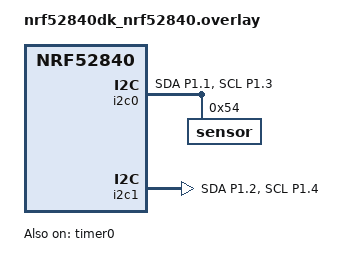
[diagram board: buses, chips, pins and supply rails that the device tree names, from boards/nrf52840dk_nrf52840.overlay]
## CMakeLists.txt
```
#
# Copyright (c) 2025 Nordic Semiconductor ASA
#
# SPDX-License-Identifier: LicenseRef-Nordic-5-Clause
#

cmake_minimum_required(VERSION 3.20.0)

find_package(Zephyr REQUIRED HINTS $ENV{ZEPHYR_BASE})

if(NOT SYSBUILD)
  message(FATAL_ERROR
    " This is a multi-image application that should be built using sysbuild.\n"
    " Add --sysbuild argument to west build command to prepare all the images."
  )
endif()

project(twim_latency)

target_sources(app PRIVATE src/main.c)
```

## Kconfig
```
#
# Copyright (c) 2026 Nordic Semiconductor ASA
#
# SPDX-License-Identifier: LicenseRef-Nordic-5-Clause
#

config TEST_TWI_1MBPS_SUPPORT
	bool "Test with 1Mbps rate - DUT HW dependent"
	default y if SOC_NRF5340
	default y if SOC_NRF54H20
	default y if SOC_NRF9251

source "Kconfig.zephyr"
```

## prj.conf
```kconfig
CONFIG_I2C=y
CONFIG_NRFX_TWIS=y

CONFIG_ZTEST=y
CONFIG_DK_LIBRARY=y
CONFIG_COUNTER=y
```

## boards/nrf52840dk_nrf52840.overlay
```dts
/ {
	aliases {
		i2c-slave = &i2c1;
		tst-timer = &timer0;
	};
};

&pinctrl {
	i2c0_default_alt: i2c0_default_alt {
		group1 {
			psels = <NRF_PSEL(TWIM_SDA, 1, 1)>,
				<NRF_PSEL(TWIM_SCL, 1, 3)>;
		};
	};

	i2c0_sleep_alt: i2c0_sleep_alt {
		group1 {
			psels = <NRF_PSEL(TWIM_SDA, 1, 1)>,
				<NRF_PSEL(TWIM_SCL, 1, 3)>;
			low-power-enable;
		};
	};

	i2c1_default_alt: i2c1_default_alt {
		group1 {
			psels = <NRF_PSEL(TWIS_SDA, 1, 2)>,
				<NRF_PSEL(TWIS_SCL, 1, 4)>;
			bias-pull-up;
		};
	};

	i2c1_sleep_alt: i2c1_sleep_alt {
		group1 {
			psels = <NRF_PSEL(TWIS_SDA, 1, 2)>,
				<NRF_PSEL(TWIS_SCL, 1, 4)>;
			low-power-enable;
		};
	};
};

dut_twim: &i2c0 {
	compatible = "nordic,nrf-twim";
	status = "okay";
	pinctrl-0 = <&i2c0_default_alt>;
	pinctrl-1 = <&i2c0_sleep_alt>;
	pinctrl-names = "default", "sleep";

	sensor: sensor@54 {
		reg = <0x54>;
	};
};

dut_twis: &i2c1 {
	compatible = "nordic,nrf-twis";
	status = "okay";
	pinctrl-0 = <&i2c1_default_alt>;
	pinctrl-1 = <&i2c1_sleep_alt>;
	pinctrl-names = "default", "sleep";
};

&timer0 {
	status = "okay";
};
```

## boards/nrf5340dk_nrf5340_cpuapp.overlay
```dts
/ {
	aliases {
		i2c-slave = &i2c2;
		tst-timer = &timer0;
	};
};

&pinctrl {
	i2c1_default_alt: i2c1_default_alt {
		group1 {
			psels = <NRF_PSEL(TWIM_SDA, 0, 4)>,
				<NRF_PSEL(TWIM_SCL, 0, 6)>;
		};
	};

	i2c1_sleep_alt: i2c1_sleep_alt {
		group1 {
			psels = <NRF_PSEL(TWIM_SDA, 0, 4)>,
				<NRF_PSEL(TWIM_SCL, 0, 6)>;
			low-power-enable;
		};
	};

	i2c2_default_alt: i2c2_default_alt {
		group1 {
			psels = <NRF_PSEL(TWIS_SDA, 0, 5)>,
				<NRF_PSEL(TWIS_SCL, 0, 7)>;
			bias-pull-up;
		};
	};

	i2c2_sleep_alt: i2c2_sleep_alt {
		group1 {
			psels = <NRF_PSEL(TWIS_SDA, 0, 5)>,
				<NRF_PSEL(TWIS_SCL, 0, 7)>;
			low-power-enable;
		};
	};
};

dut_twim: &i2c1 {
	compatible = "nordic,nrf-twim";
	status = "okay";
	pinctrl-0 = <&i2c1_default_alt>;
	pinctrl-1 = <&i2c1_sleep_alt>;
	pinctrl-names = "default", "sleep";

	sensor: sensor@54 {
		reg = <0x54>;
	};
};

dut_twis: &i2c2 {
	compatible = "nordic,nrf-twis";
	pinctrl-0 = <&i2c2_default_alt>;
	pinctrl-1 = <&i2c2_sleep_alt>;
	pinctrl-names = "default", "sleep";
};

&timer0 {
	status = "okay";
};
```

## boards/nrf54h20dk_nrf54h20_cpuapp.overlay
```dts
/ {
	aliases {
		i2c-slave = &i2c131;
		tst-timer = &timer130;
	};
};

&pinctrl {
	i2c130_default_alt: i2c130_default_alt {
		group1 {
			psels = <NRF_PSEL(TWIM_SDA, 2, 8)>,
				<NRF_PSEL(TWIM_SCL, 1, 2)>;
		};
	};

	i2c130_sleep_alt: i2c130_sleep_alt {
		group1 {
			psels = <NRF_PSEL(TWIM_SDA, 2, 8)>,
				<NRF_PSEL(TWIM_SCL, 1, 2)>;
			low-power-enable;
		};
	};

	i2c131_default_alt: i2c131_default_alt {
		group1 {
			psels = <NRF_PSEL(TWIM_SDA, 2, 9)>,
				<NRF_PSEL(TWIM_SCL, 1, 3)>;
			bias-pull-up;
		};
	};

	i2c131_sleep_alt: i2c131_sleep_alt {
		group1 {
			psels = <NRF_PSEL(TWIM_SDA, 2, 9)>,
				<NRF_PSEL(TWIM_SCL, 1, 3)>;
			low-power-enable;
		};
	};
};

dut_twim: &i2c130 {
	compatible = "nordic,nrf-twim";
	status = "okay";
	pinctrl-0 = <&i2c130_default_alt>;
	pinctrl-1 = <&i2c130_sleep_alt>;
	pinctrl-names = "default", "sleep";
	memory-regions = <&cpuapp_dma_region>;
	zephyr,concat-buf-size = <512>;

	sensor: sensor@54 {
		reg = <0x54>;
	};
};

dut_twis: &i2c131 {
	compatible = "nordic,nrf-twis";
	status = "okay";
	pinctrl-0 = <&i2c131_default_alt>;
	pinctrl-1 = <&i2c131_sleep_alt>;
	pinctrl-names = "default", "sleep";
	memory-regions = <&cpuapp_dma_region>;
};

&timer130 {
	status = "okay";
};
```

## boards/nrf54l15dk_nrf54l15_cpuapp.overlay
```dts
/ {
	aliases {
		i2c-slave = &i2c22;
		tst-timer = &timer20;
	};
};

&pinctrl {
	i2c21_default_alt: i2c21_default_alt {
		group1 {
			psels = <NRF_PSEL(TWIM_SDA, 1, 8)>,
				<NRF_PSEL(TWIM_SCL, 1, 12)>;
		};
	};

	i2c21_sleep_alt: i2c21_sleep_alt {
		group1 {
			psels = <NRF_PSEL(TWIM_SDA, 1, 8)>,
				<NRF_PSEL(TWIM_SCL, 1, 12)>;
			low-power-enable;
		};
	};

	i2c22_default_alt: i2c22_default_alt {
		group1 {
			psels = <NRF_PSEL(TWIS_SDA, 1, 9)>,
				<NRF_PSEL(TWIS_SCL, 1, 13)>;
			bias-pull-up;
		};
	};

	i2c22_sleep_alt: i2c22_sleep_alt {
		group1 {
			psels = <NRF_PSEL(TWIS_SDA, 1, 9)>,
				<NRF_PSEL(TWIS_SCL, 1, 13)>;
			low-power-enable;
		};
	};
};

dut_twim: &i2c21 {
	compatible = "nordic,nrf-twim";
	status = "okay";
	pinctrl-0 = <&i2c21_default_alt>;
	pinctrl-1 = <&i2c21_sleep_alt>;
	pinctrl-names = "default", "sleep";
	sensor: sensor@54 {
		reg = <0x54>;
	};
};

dut_twis: &i2c22 {
	compatible = "nordic,nrf-twis";
	status = "okay";
	pinctrl-0 = <&i2c22_default_alt>;
	pinctrl-1 = <&i2c22_sleep_alt>;
	pinctrl-names = "default", "sleep";
};

&timer20 {
	status = "okay";
};
```

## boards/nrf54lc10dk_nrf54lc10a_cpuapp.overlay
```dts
/ {
	aliases {
		i2c-slave = &i2c21;
		tst-timer = &timer20;
	};
};

&pinctrl {
	i2c20_default_alt: i2c20_default_alt {
		group1 {
			psels = <NRF_PSEL(TWIM_SDA, 1, 0)>,
				<NRF_PSEL(TWIM_SCL, 1, 2)>;
		};
	};

	i2c20_sleep_alt: i2c20_sleep_alt {
		group1 {
			psels = <NRF_PSEL(TWIM_SDA, 1, 0)>,
				<NRF_PSEL(TWIM_SCL, 1, 2)>;
			low-power-enable;
		};
	};

	i2c21_default_alt: i2c21_default_alt {
		group1 {
			psels = <NRF_PSEL(TWIS_SDA, 1, 1)>,
				<NRF_PSEL(TWIS_SCL, 1, 3)>;
			bias-pull-up;
		};
	};

	i2c21_sleep_alt: i2c21_sleep_alt {
		group1 {
			psels = <NRF_PSEL(TWIS_SDA, 1, 1)>,
				<NRF_PSEL(TWIS_SCL, 1, 3)>;
			low-power-enable;
		};
	};
};

dut_twim: &i2c20 {
	compatible = "nordic,nrf-twim";
	status = "okay";
	pinctrl-0 = <&i2c20_default_alt>;
	pinctrl-1 = <&i2c20_sleep_alt>;
	pinctrl-names = "default", "sleep";

	sensor: sensor@54 {
		reg = <0x54>;
	};
};

dut_twis: &i2c21 {
	compatible = "nordic,nrf-twis";
	status = "okay";
	pinctrl-0 = <&i2c21_default_alt>;
	pinctrl-1 = <&i2c21_sleep_alt>;
	pinctrl-names = "default", "sleep";
};

&timer20 {
	status = "okay";
};
```

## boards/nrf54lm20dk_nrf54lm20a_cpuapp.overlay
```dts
/* Test requires two loopbacks:
 * - P1.13 - P1.14,
 * - P1.23 - P1.24.
 */

/ {
	aliases {
		i2c-slave = &i2c22;
		tst-timer = &timer20;
	};
};

&pinctrl {
	i2c21_default_alt: i2c21_default_alt {
		group1 {
			psels = <NRF_PSEL(TWIM_SDA, 1, 13)>,
				<NRF_PSEL(TWIM_SCL, 1, 23)>;
		};
	};

	i2c21_sleep_alt: i2c21_sleep_alt {
		group1 {
			psels = <NRF_PSEL(TWIM_SDA, 1, 13)>,
				<NRF_PSEL(TWIM_SCL, 1, 23)>;
			low-power-enable;
		};
	};

	i2c22_default_alt: i2c22_default_alt {
		group1 {
			psels = <NRF_PSEL(TWIS_SDA, 1, 14)>,
				<NRF_PSEL(TWIS_SCL, 1, 24)>;
			bias-pull-up;
		};
	};

	i2c22_sleep_alt: i2c22_sleep_alt {
		group1 {
			psels = <NRF_PSEL(TWIS_SDA, 1, 14)>,
				<NRF_PSEL(TWIS_SCL, 1, 24)>;
			low-power-enable;
		};
	};
};

dut_twim: &i2c21 {
	compatible = "nordic,nrf-twim";
	status = "okay";
	pinctrl-0 = <&i2c21_default_alt>;
	pinctrl-1 = <&i2c21_sleep_alt>;
	pinctrl-names = "default", "sleep";

	sensor: sensor@54 {
		reg = <0x54>;
	};
};

dut_twis: &i2c22 {
	compatible = "nordic,nrf-twis";
	status = "okay";
	pinctrl-0 = <&i2c22_default_alt>;
	pinctrl-1 = <&i2c22_sleep_alt>;
	pinctrl-names = "default", "sleep";
};

&timer20 {
	status = "okay";
};
```

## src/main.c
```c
/*
 * Copyright (c) 2025 Nordic Semiconductor ASA
 *
 * SPDX-License-Identifier: LicenseRef-Nordic-5-Clause
 */

#include <errno.h>
#include <zephyr/kernel.h>
#include <zephyr/linker/devicetree_regions.h>
#include <zephyr/device.h>
#include <zephyr/drivers/pinctrl.h>

#include <zephyr/drivers/i2c.h>
#include <nrfx_twis.h>

#include <zephyr/drivers/counter.h>

#include <zephyr/ztest.h>

#define NODE_TWIM	    DT_NODELABEL(sensor)
#define NODE_TWIS	    DT_ALIAS(i2c_slave)
#define MEASUREMENT_REPEATS 10

#define TWIS_MEMORY_SECTION                                                                        \
	COND_CODE_1(DT_NODE_HAS_PROP(NODE_TWIS, memory_regions),                                   \
		    (__attribute__((__section__(                                                   \
			    LINKER_DT_NODE_REGION_NAME(DT_PHANDLE(NODE_TWIS, memory_regions)))))), \
		    ())

#define TEST_TIMER_COUNT_TIME_LIMIT_MS 500
#define MAX_TEST_DATA_SIZE	       255
static nrfx_twis_t twis = {
	.p_reg = (NRF_TWIS_Type *)DT_REG_ADDR(NODE_TWIS)
};
const struct device *const tst_timer_dev = DEVICE_DT_GET(DT_ALIAS(tst_timer));

static uint8_t i2c_slave_buffer[MAX_TEST_DATA_SIZE] TWIS_MEMORY_SECTION;
static uint8_t i2c_master_buffer[MAX_TEST_DATA_SIZE];

struct i2c_api_twis_fixture {
	const struct device *dev;
	uint8_t addr;
	uint8_t *const master_buffer;
	uint8_t *const slave_buffer;
};

static struct i2c_api_twis_fixture fixture = {
	.dev = DEVICE_DT_GET(DT_BUS(NODE_TWIM)),
	.addr = DT_REG_ADDR(NODE_TWIM),
	.master_buffer = i2c_master_buffer,
	.slave_buffer = i2c_slave_buffer,
};

static void configure_test_timer(const struct device *timer_dev, uint32_t count_time_ms)
{
	struct counter_alarm_cfg counter_cfg;

	counter_cfg.flags = 0;
	counter_cfg.ticks = counter_us_to_ticks(timer_dev, (uint64_t)count_time_ms * 1000);
	counter_cfg.user_data = &counter_cfg;
}

static uint32_t calculate_theoretical_transsmison_time_us(size_t buffer_size,
							  uint8_t i2c_speed_setting)
{
	/* i2c_get_config is not imeplemnted on NRF devices
	 * configuration here is hard-coded
	 */
	uint32_t i2c_speed;
	float ratio;
	/* 7 address bits + 1 R/W bit + 1 ACK bit */
	uint32_t address_bits = 7 + 1 + 1;
	/* 8 data bits + 1 ACK bit */
	uint32_t data_bits = 8 + 1;
	/* dead time bits */
	uint32_t dead_time_bits = 2;
	/*
	 *  clock stretching bits
	 * note that this is very rough approximation
	 * it is hard to estimate the actual
	 * time required for clock stretching
	 */
	uint32_t clk_stretch_bits;

	switch (i2c_speed_setting) {
	case I2C_SPEED_STANDARD:
		i2c_speed = 100000;
		clk_stretch_bits = 0;
		break;
	case I2C_SPEED_FAST:
		i2c_speed = 400000;
		clk_stretch_bits = 2;
		break;
	case I2C_SPEED_FAST_PLUS:
		i2c_speed = 1000000;
		clk_stretch_bits = 4;
		break;
	default:
		i2c_speed = 100000;
		break;
	}

	ratio = 1000000.0 / i2c_speed;

	/* Address is sent once at the beginning
	 * when i2c_write/read methods are used
	 * there is one START and one STOP bit
	 */
	return (uint32_t)(ratio * (float)(1 + address_bits + dead_time_bits +
					  (data_bits + clk_stretch_bits) * buffer_size + 1));
}

/*
 * Note that the calculated 'theoretical_transmission_time_us'
 * is not accurate enough to perform a stric assesment
 * especially for 1 byte transmission with higher speeds
 */
static void assess_measurement_result(uint64_t timer_value_us,
				      uint32_t theoretical_transmission_time_us, size_t buffer_size)
{
	uint64_t maximal_allowed_transmission_time_us;

	if (buffer_size == 1) {
		/* 500% */
		maximal_allowed_transmission_time_us = (1 + 5) * theoretical_transmission_time_us;
	} else {
		/* 200% */
		maximal_allowed_transmission_time_us = (1 + 2) * theoretical_transmission_time_us;
	}

	zexpect_true(timer_value_us < maximal_allowed_transmission_time_us,
		     "Measured call latency is over the specified limit");
}

static void i2s_slave_handler(nrfx_twis_event_t const *p_event)
{
	switch (p_event->type) {
	case NRFX_TWIS_EVT_READ_REQ:
		nrfx_twis_tx_prepare(&twis, i2c_slave_buffer, MAX_TEST_DATA_SIZE);
		break;
	case NRFX_TWIS_EVT_READ_DONE:
		break;
	case NRFX_TWIS_EVT_WRITE_REQ:
		nrfx_twis_rx_prepare(&twis, i2c_slave_buffer, MAX_TEST_DATA_SIZE);
		break;
	case NRFX_TWIS_EVT_WRITE_DONE:
		break;
	default:
		break;
	}
}

static void *test_setup(void)
{
	const nrfx_twis_config_t config = {
		.addr = {fixture.addr, 0},
		.skip_gpio_cfg = true,
		.skip_psel_cfg = true,
	};
	int ret;

	zassert_true(device_is_ready(fixture.dev), "TWIM device is not ready");

	zassert_equal(0, nrfx_twis_init(&twis, &config, i2s_slave_handler),
		      "TWIS initialization failed");

	PINCTRL_DT_DEFINE(NODE_TWIS);
	ret = pinctrl_apply_state(PINCTRL_DT_DEV_CONFIG_GET(NODE_TWIS), PINCTRL_STATE_DEFAULT);
	zassert_ok(ret);

	IRQ_CONNECT(DT_IRQN(NODE_TWIS), DT_IRQ(NODE_TWIS, priority),
		    nrfx_twis_irq_handler, &twis, 0);

	nrfx_twis_enable(&twis);

	return NULL;
}

static void prepare_test_data(uint8_t *const buffer, size_t buffer_size)
{
	for (size_t counter = 0; counter < buffer_size; counter++) {
		buffer[counter] = counter;
	}
}

static void cleanup_buffers(void *nullp)
{
	memset(fixture.slave_buffer, 0, MAX_TEST_DATA_SIZE);
	memset(fixture.master_buffer, 0, MAX_TEST_DATA_SIZE);
}

/*
 * Select valu from
 * I2C_SPEED_STANDARD
 * I2C_SPEED_FAST
 * I2C_SPEED_FAST_PLUS
 */
static void configure_twim_speed(uint8_t i2c_speed_setting)
{
	uint32_t i2c_config = I2C_SPEED_SET(i2c_speed_setting) | I2C_MODE_CONTROLLER;

	TC_PRINT("TWIM speed setting: %d\n", i2c_speed_setting);
	zassert_ok(i2c_configure(fixture.dev, i2c_config));
}

static void test_i2c_read_latency(size_t buffer_size, uint8_t i2c_speed_setting)
{
	int ret;
	uint32_t tst_timer_value;
	uint64_t timer_value_us[MEASUREMENT_REPEATS];
	uint64_t average_timer_value_us = 0;
	uint32_t theoretical_transmission_time_us;

	TC_PRINT("I2C read latency in test with buffer size: %u bytes and speed setting: %u\n",
		 buffer_size, i2c_speed_setting);
	configure_twim_speed(i2c_speed_setting);

	prepare_test_data(fixture.slave_buffer, buffer_size);
	configure_test_timer(tst_timer_dev, TEST_TIMER_COUNT_TIME_LIMIT_MS);

	theoretical_transmission_time_us =
		calculate_theoretical_transsmison_time_us(buffer_size, i2c_speed_setting);

	for (uint32_t repeat_counter = 0; repeat_counter < MEASUREMENT_REPEATS; repeat_counter++) {
		memset(fixture.slave_buffer, 0, buffer_size);
		counter_reset(tst_timer_dev);
		counter_start(tst_timer_dev);
		ret = i2c_read(fixture.dev, fixture.master_buffer, buffer_size, fixture.addr);
		counter_get_value(tst_timer_dev, &tst_timer_value);
		counter_stop(tst_timer_dev);
		timer_value_us[repeat_counter] =
			counter_ticks_to_us(tst_timer_dev, tst_timer_value);
		average_timer_value_us += timer_value_us[repeat_counter];

		zexpect_ok(ret, "i2c_read() ret %d", ret);
		zexpect_mem_equal(fixture.master_buffer, fixture.slave_buffer, buffer_size);
	}

	average_timer_value_us /= MEASUREMENT_REPEATS;

	TC_PRINT("Calculated transmission time (for %u bytes) [us]: %u\n", buffer_size,
		 theoretical_transmission_time_us);
	TC_PRINT("i2c_read: measured transmission time (for %u bytes) [us]: %llu\n", buffer_size,
		 average_timer_value_us);
	TC_PRINT("i2c_read: measured - claculated time delta (for %d bytes) [us]: %lld\n",
		 buffer_size, average_timer_value_us - theoretical_transmission_time_us);

	assess_measurement_result(average_timer_value_us, theoretical_transmission_time_us,
				  buffer_size);
}

static void test_i2c_write_latency(size_t buffer_size, uint8_t i2c_speed_setting)
{
	int ret;
	uint32_t tst_timer_value;
	uint64_t timer_value_us[MEASUREMENT_REPEATS];
	uint64_t average_timer_value_us = 0;
	uint32_t theoretical_transmission_time_us;

	TC_PRINT("I2C write latency in test with buffer size: %u bytes and speed setting: %u\n",
		 buffer_size, i2c_speed_setting);
	configure_twim_speed(i2c_speed_setting);

	prepare_test_data(fixture.master_buffer, buffer_size);
	configure_test_timer(tst_timer_dev, TEST_TIMER_COUNT_TIME_LIMIT_MS);

	theoretical_transmission_time_us =
		calculate_theoretical_transsmison_time_us(buffer_size, i2c_speed_setting);

	for (uint32_t repeat_counter = 0; repeat_counter < MEASUREMENT_REPEATS; repeat_counter++) {
		memset(fixture.slave_buffer, 0, buffer_size);
		counter_reset(tst_timer_dev);
		counter_start(tst_timer_dev);
		ret = i2c_write(fixture.dev, fixture.master_buffer, buffer_size, fixture.addr);
		counter_get_value(tst_timer_dev, &tst_timer_value);
		counter_stop(tst_timer_dev);
		timer_value_us[repeat_counter] =
			counter_ticks_to_us(tst_timer_dev, tst_timer_value);
		average_timer_value_us += timer_value_us[repeat_counter];

		zexpect_ok(ret, "i2c_write() ret %d", ret);
		zexpect_mem_equal(fixture.master_buffer, fixture.slave_buffer, buffer_size);
	}

	average_timer_value_us /= MEASUREMENT_REPEATS;

	TC_PRINT("Calculated transmission time (for %u bytes) [us]: %u\n", buffer_size,
		 theoretical_transmission_time_us);
	TC_PRINT("i2c_write: measured transmission time (for %u bytes) [us]: %llu\n", buffer_size,
		 average_timer_value_us);
	TC_PRINT("i2c_write: measured - claculated time delta (for %d bytes) [us]: %lld\n",
		 buffer_size, average_timer_value_us - theoretical_transmission_time_us);

	assess_measurement_result(average_timer_value_us, theoretical_transmission_time_us,
				  buffer_size);
}

ZTEST(i2c_transmission_latency, test_i2c_read_call_latency_standard_speed)
{
	test_i2c_read_latency(1, I2C_SPEED_STANDARD);
	test_i2c_read_latency(10, I2C_SPEED_STANDARD);
	test_i2c_read_latency(128, I2C_SPEED_STANDARD);
	test_i2c_read_latency(240, I2C_SPEED_STANDARD);
}

ZTEST(i2c_transmission_latency, test_i2c_read_call_latency_fast_speed)
{
	test_i2c_read_latency(1, I2C_SPEED_FAST);
	test_i2c_read_latency(10, I2C_SPEED_FAST);
	test_i2c_read_latency(128, I2C_SPEED_FAST);
	test_i2c_read_latency(240, I2C_SPEED_FAST);
}

ZTEST(i2c_transmission_latency, test_i2c_read_call_latency_fast_plus_speed)
{
	Z_TEST_SKIP_IFNDEF(CONFIG_TEST_TWI_1MBPS_SUPPORT);

	test_i2c_read_latency(1, I2C_SPEED_FAST_PLUS);
	test_i2c_read_latency(10, I2C_SPEED_FAST_PLUS);
	test_i2c_read_latency(128, I2C_SPEED_FAST_PLUS);
	test_i2c_read_latency(240, I2C_SPEED_FAST_PLUS);
}

ZTEST(i2c_transmission_latency, test_i2c_write_call_latency_standard_speed)
{
	test_i2c_write_latency(1, I2C_SPEED_STANDARD);
	test_i2c_write_latency(10, I2C_SPEED_STANDARD);
	test_i2c_write_latency(128, I2C_SPEED_STANDARD);
	test_i2c_write_latency(240, I2C_SPEED_STANDARD);
}

ZTEST(i2c_transmission_latency, test_i2c_write_call_latency_fast_speed)
{
	test_i2c_write_latency(1, I2C_SPEED_FAST);
	test_i2c_write_latency(10, I2C_SPEED_FAST);
	test_i2c_write_latency(128, I2C_SPEED_FAST);
	test_i2c_write_latency(240, I2C_SPEED_FAST);
}

ZTEST(i2c_transmission_latency, test_i2c_write_call_latency_fast_plus_speed)
{
	Z_TEST_SKIP_IFNDEF(CONFIG_TEST_TWI_1MBPS_SUPPORT);

	test_i2c_write_latency(1, I2C_SPEED_FAST_PLUS);
	test_i2c_write_latency(10, I2C_SPEED_FAST_PLUS);
	test_i2c_write_latency(128, I2C_SPEED_FAST_PLUS);
	test_i2c_write_latency(240, I2C_SPEED_FAST_PLUS);
}

ZTEST_SUITE(i2c_transmission_latency, NULL, test_setup, NULL, cleanup_buffers, NULL);
```
